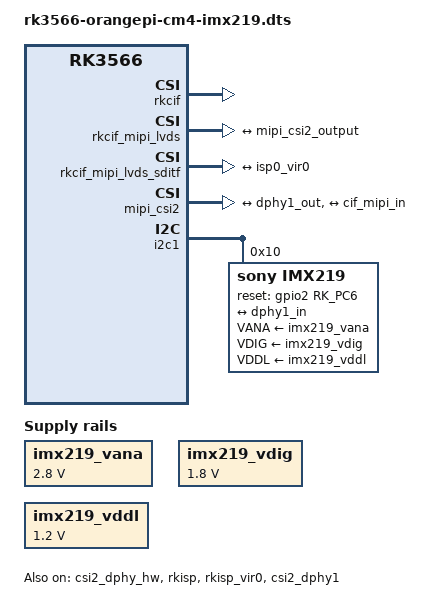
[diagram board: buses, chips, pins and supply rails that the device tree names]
// SPDX-License-Identifier: (GPL-2.0+ OR MIT)
/*
* Copyright (c) 2020 Rockchip Electronics Co., Ltd.
*
*/
/dts-v1/;

#include "rk3566-orangepi-cm4.dtsi"

/ {
    imx219_vana: imx219-vana {
        compatible = "regulator-fixed";
        regulator-name = "imx219_vana";
        regulator-min-microvolt = <2800000>;
        regulator-max-microvolt = <2800000>;
    };

    imx219_vdig: imx219-vdig {
        compatible = "regulator-fixed";
        regulator-name = "imx219_vdig";
        regulator-min-microvolt = <1800000>;
        regulator-max-microvolt = <1800000>;
    };

    imx219_vddl: imx219-vddl {
        compatible = "regulator-fixed";
        regulator-name = "imx219_vddl";
        regulator-min-microvolt = <1200000>;
        regulator-max-microvolt = <1200000>;
    };

};

&csi2_dphy_hw {
    status = "okay";
};

&rkisp {
    status = "okay";
};

&rkisp_mmu {
    status = "okay";
};

&rkisp_vir0 {
	status = "okay";

	port {
		#address-cells = <1>;
		#size-cells = <0>;

		isp0_vir0: endpoint@0 {
			reg = <0>;
			remote-endpoint = <&mipi_lvds_sditf>;
		};
	};
};

&rkcif {
    status = "okay";
};

&rkcif_mmu {
    status = "okay";
};

&rkcif_mipi_lvds {
	status = "okay";

	port {
		cif_mipi_in: endpoint {
			remote-endpoint = <&mipi_csi2_output>;
		};
	};
};

&rkcif_mipi_lvds_sditf {
	status = "okay";

	port {
		mipi_lvds_sditf: endpoint {
			remote-endpoint = <&isp0_vir0>;
		};
	};
};

&mipi_csi2 {
    status = "okay";

    ports {
        #address-cells = <1>;
        #size-cells = <0>;

        port@0 {
            reg = <0>;
            #address-cells = <1>;
            #size-cells = <0>;

            mipi_csi2_input: endpoint@1 {
                reg = <1>;
                remote-endpoint = <&dphy1_out>;
                data-lanes = <1 2>;
            };
        };

        port@1 {
            reg = <1>;
            #address-cells = <1>;
            #size-cells = <0>;

            mipi_csi2_output: endpoint@0 {
                reg = <0>;
                remote-endpoint = <&cif_mipi_in>;
                data-lanes = <1 2>;
            };
        };
    };
};

&csi2_dphy1 {
	status = "okay";
	
	ports {
		#address-cells = <1>;
		#size-cells = <0>;
		
		port@0 {
			reg = <0>;
			#address-cells = <1>;
			#size-cells = <0>;
			
			dphy1_in: endpoint@1 {
				reg = <1>;
				remote-endpoint = <&imx219_out>;
				data-lanes = <1 2>;
			};
		};
		
		port@1 {
			reg = <1>;
			#address-cells = <1>;
			#size-cells = <0>;
			
			dphy1_out: endpoint@1 {
				reg = <1>;
				remote-endpoint = <&mipi_csi2_input>;
			};
		};
	};
};

&i2c1 {

    imx219: imx219@10 {
        compatible = "sony,imx219";
        reg = <0x10>;
        status = "okay";

        clocks = <&cru CLK_CIF_OUT>;
        clock-names = "xclk";

        VANA-supply = <&imx219_vana>;   /* 2.8v */
        VDIG-supply = <&imx219_vdig>;   /* 1.8v */
        VDDL-supply = <&imx219_vddl>;   /* 1.2v */

        rotation = <180>;
        orientation = <2>;

        reset-gpios = <&gpio2 RK_PC6 GPIO_ACTIVE_HIGH>;
        rockchip,camera-module-index = <0>;
		rockchip,camera-module-facing = "back";
		rockchip,camera-module-name = "imx219";
		rockchip,camera-module-lens-name = "NA";

        port {
			imx219_out: endpoint {
				remote-endpoint = <&dphy1_in>;
                clock-lanes = <0>;
				data-lanes = <1 2>;
				clock-noncontinuous;
				link-frequencies = /bits/ 64 <456000000>;
			};
		};
    };


};
